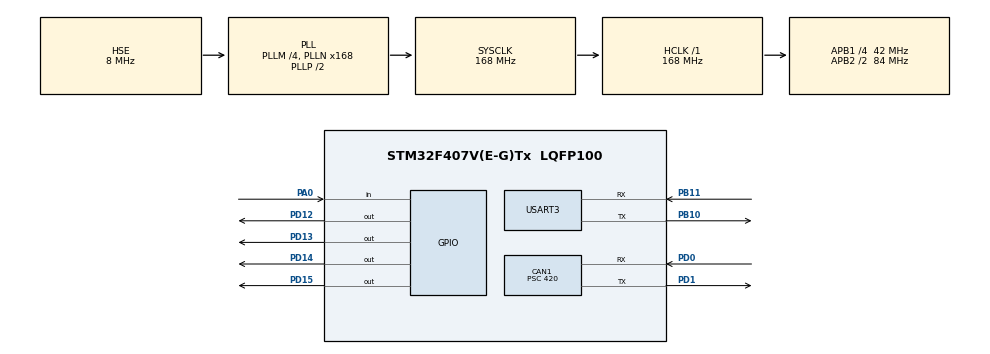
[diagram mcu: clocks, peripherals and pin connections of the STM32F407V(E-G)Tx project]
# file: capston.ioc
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CAN1.BS1=CAN_BS1_14TQ
CAN1.BS2=CAN_BS2_5TQ
CAN1.CalculateBaudRate=5000
CAN1.CalculateTimeBit=200000
CAN1.CalculateTimeQuantum=10000.0
CAN1.NART=ENABLE
CAN1.Prescaler=420
Dma.Request0=USART3_RX
Dma.USART3_RX.0.Direction=DMA_PERIPH_TO_MEMORY
Dma.USART3_RX.0.FIFOMode=DMA_FIFOMODE_DISABLE
Dma.USART3_RX.0.Instance=DMA1_Stream1
Dma.USART3_RX.0.MemDataAlignment=DMA_MDATAALIGN_BYTE
Dma.USART3_RX.0.MemInc=DMA_MINC_ENABLE
Dma.USART3_RX.0.Mode=DMA_CIRCULAR
Dma.USART3_RX.0.PeriphDataAlignment=DMA_PDATAALIGN_BYTE
Dma.USART3_RX.0.PeriphInc=DMA_PINC_DISABLE
Dma.USART3_RX.0.Priority=DMA_PRIORITY_LOW
Mcu.Family=STM32F4
Mcu.Name=STM32F407V(E-G)Tx
Mcu.Package=LQFP100
NVIC.CAN1_RX0_IRQn=true\:0\:0\:false\:false\:true\:true\:true\:true
NVIC.PriorityGroup=NVIC_PRIORITYGROUP_4
PA0-WKUP.Signal=GPIO_Input
PB10.Mode=Asynchronous
PB10.Signal=USART3_TX
PB11.Mode=Asynchronous
PB11.Signal=USART3_RX
PD0.Mode=CAN_Activate
PD0.Signal=CAN1_RX
PD1.Mode=CAN_Activate
PD1.Signal=CAN1_TX
PD12.Signal=GPIO_Output
PD13.Signal=GPIO_Output
PD14.Signal=GPIO_Output
PD15.Signal=GPIO_Output
PH0-OSC_IN.Mode=HSE-External-Oscillator
PH0-OSC_IN.Signal=RCC_OSC_IN
PH1-OSC_OUT.Mode=HSE-External-Oscillator
PH1-OSC_OUT.Signal=RCC_OSC_OUT
ProjectManager.HeapSize=0x200
ProjectManager.StackSize=0x400
ProjectManager.TargetToolchain=CMake
RCC.48MHZClocksFreq_Value=84000000
RCC.AHBFreq_Value=168000000
RCC.APB1CLKDivider=RCC_HCLK_DIV4
RCC.APB1Freq_Value=42000000
RCC.APB1TimFreq_Value=84000000
RCC.APB2CLKDivider=RCC_HCLK_DIV2
RCC.APB2Freq_Value=84000000
RCC.APB2TimFreq_Value=168000000
RCC.CortexFreq_Value=168000000
RCC.HCLKFreq_Value=168000000
RCC.HSE_VALUE=8000000
RCC.HSI_VALUE=16000000
RCC.LSE_VALUE=32768
RCC.PLLM=4
RCC.PLLN=168
RCC.PLLSourceVirtual=RCC_PLLSOURCE_HSE
RCC.SYSCLKFreq_VALUE=168000000
RCC.SYSCLKSource=RCC_SYSCLKSOURCE_PLLCLK
RCC.VCOOutputFreq_Value=336000000
USART3.VirtualMode=VM_ASYNC
board=custom

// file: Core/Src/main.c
/* USER CODE BEGIN Header */
/**
  ******************************************************************************
  * @file           : main.c
  * @brief          : Main program body
  ******************************************************************************
  * @attention
  *
  * Copyright (c) 2026 STMicroelectronics.
  * All rights reserved.
  *
  * This software is licensed under terms that can be found in the LICENSE file
  * in the root directory of this software component.
  * If no LICENSE file comes with this software, it is provided AS-IS.
  *
  ******************************************************************************
  */
/* USER CODE END Header */
#include "main.h"

/* USER CODE BEGIN Includes */
#include "ap.h"
#include "hw_def.h"
/* USER CODE END Includes */

CAN_HandleTypeDef hcan1;

UART_HandleTypeDef huart3;
DMA_HandleTypeDef hdma_usart3_rx;

void SystemClock_Config(void);
static void MX_GPIO_Init(void);
static void MX_DMA_Init(void);
static void MX_USART3_UART_Init(void);
static void MX_CAN1_Init(void);

/* USER CODE BEGIN 0 */
CAN_FilterTypeDef canFilter1;
CAN_RxHeaderTypeDef canRxHeader;
CAN_TxHeaderTypeDef canTxHeader;
uint8_t can1Rx0Data[8];
uint32_t TxMailBox;
uint8_t can1Tx0Data[8];
/* USER CODE END 0 */

int main(void)
{

  /* USER CODE BEGIN 1 */

  volatile uint8_t can1_rx0_flag = 0 ;
  /* USER CODE END 1 */

  /* MCU Configuration--------------------------------------------------------*/

  /* Reset of all peripherals, Initializes the Flash interface and the Systick. */
  HAL_Init();

  /* Configure the system clock */
  SystemClock_Config();

  /* Initialize all configured peripherals */
  MX_GPIO_Init();
  MX_DMA_Init();
  MX_USART3_UART_Init();
  MX_CAN1_Init();
  /* USER CODE BEGIN 2 */
  canFilter1.FilterMaskIdHigh = 0x0000; // 마스크를 0으로 하면 ID 상관없이 다 받음
  canFilter1.FilterIdHigh = 0x0000;
  canFilter1.FilterMaskIdLow = 0x0000;
  canFilter1.FilterIdLow = 0x0000;
  canFilter1.FilterMode = CAN_FILTERMODE_IDMASK;
  canFilter1.FilterScale = CAN_FILTERSCALE_32BIT; // 32비트 스케일 추천
  canFilter1.FilterFIFOAssignment = CAN_FILTER_FIFO0;
  canFilter1.FilterBank = 0;
  canFilter1.FilterActivation = ENABLE;

  HAL_CAN_ConfigFilter(&hcan1, &canFilter1);
  HAL_CAN_ActivateNotification(&hcan1, CAN_IT_RX_FIFO0_MSG_PENDING);

  HAL_CAN_Start(&hcan1);

  // hwInit();
  // apInit();
  // apMain();

  /* USER CODE END 2 */

  /* Infinite loop */
  /* USER CODE BEGIN WHILE */
  uint32_t last_tx_tick = 0;
  while (1)
  {
    if(can1_rx0_flag)
    {
      can1_rx0_flag = 0;
      // 수신 데이터 처리 로직...
    }

    /* 송신 처리 부분 (수정됨) */
    // 현재 시간(HAL_GetTick)과 마지막 전송 시간의 차이가 1000ms(1초) 이상이면 실행
    if(HAL_GetTick() - last_tx_tick >= 1000)
    {
      last_tx_tick = HAL_GetTick(); // 시간 갱신

      // 1. 헤더 설정 (ID: 0x102)
      canTxHeader.StdId = 0x102;
      canTxHeader.RTR = CAN_RTR_DATA;
      canTxHeader.IDE = CAN_ID_STD;
      canTxHeader.DLC = 8;
      canTxHeader.TransmitGlobalTime = DISABLE;

      // 2. 데이터 변경 (값이 바뀌는 것을 확인하기 위함)
      for(int i=0; i<8; i++) can1Tx0Data[i]++;

      // 3. 메시지 전송
      // 메일박스 가용 레벨 확인 (선택 사항이나 안전을 위해 체크하면 좋음)
      if (HAL_CAN_GetTxMailboxesFreeLevel(&hcan1) > 0)
      {
          if (HAL_CAN_AddTxMessage(&hcan1, &canTxHeader, can1Tx0Data, &TxMailBox) == HAL_OK)
          {
              // 전송 성공 시: 초록색 LED (PD12) 토글
              HAL_GPIO_TogglePin(GPIOD, GPIO_PIN_12);
          }
          else
          {
              // 전송 실패 시(Mailbox 꽉 참 등): 주황색 LED (PD13) 켜기 (에러 표시)
              HAL_GPIO_WritePin(GPIOD, GPIO_PIN_13, GPIO_PIN_SET);
          }
      }
    }

    /* USER CODE END WHILE */

  }
}

void SystemClock_Config(void)
{
  RCC_OscInitTypeDef RCC_OscInitStruct = {0};
  RCC_ClkInitTypeDef RCC_ClkInitStruct = {0};

  /** Configure the main internal regulator output voltage
  */
  __HAL_RCC_PWR_CLK_ENABLE();
  __HAL_PWR_VOLTAGESCALING_CONFIG(PWR_REGULATOR_VOLTAGE_SCALE1);

  /** Initializes the RCC Oscillators according to the specified parameters
  * in the RCC_OscInitTypeDef structure.
  */
  RCC_OscInitStruct.OscillatorType = RCC_OSCILLATORTYPE_HSE;
  RCC_OscInitStruct.HSEState = RCC_HSE_ON;
  RCC_OscInitStruct.PLL.PLLState = RCC_PLL_ON;
  RCC_OscInitStruct.PLL.PLLSource = RCC_PLLSOURCE_HSE;
  RCC_OscInitStruct.PLL.PLLM = 4;
  RCC_OscInitStruct.PLL.PLLN = 168;
  RCC_OscInitStruct.PLL.PLLP = RCC_PLLP_DIV2;
  RCC_OscInitStruct.PLL.PLLQ = 4;
  if (HAL_RCC_OscConfig(&RCC_OscInitStruct) != HAL_OK)
  {
    Error_Handler();
  }

  /** Initializes the CPU, AHB and APB buses clocks
  */
  RCC_ClkInitStruct.ClockType = RCC_CLOCKTYPE_HCLK|RCC_CLOCKTYPE_SYSCLK
                              |RCC_CLOCKTYPE_PCLK1|RCC_CLOCKTYPE_PCLK2;
  RCC_ClkInitStruct.SYSCLKSource = RCC_SYSCLKSOURCE_PLLCLK;
  RCC_ClkInitStruct.AHBCLKDivider = RCC_SYSCLK_DIV1;
  RCC_ClkInitStruct.APB1CLKDivider = RCC_HCLK_DIV4;
  RCC_ClkInitStruct.APB2CLKDivider = RCC_HCLK_DIV2;

  if (HAL_RCC_ClockConfig(&RCC_ClkInitStruct, FLASH_LATENCY_5) != HAL_OK)
  {
    Error_Handler();
  }
}

static void MX_CAN1_Init(void)
{

  hcan1.Instance = CAN1;
  hcan1.Init.Prescaler = 420;
  hcan1.Init.Mode = CAN_MODE_NORMAL;
  hcan1.Init.SyncJumpWidth = CAN_SJW_1TQ;
  hcan1.Init.TimeSeg1 = CAN_BS1_14TQ;
  hcan1.Init.TimeSeg2 = CAN_BS2_5TQ;
  hcan1.Init.TimeTriggeredMode = DISABLE;
  hcan1.Init.AutoBusOff = DISABLE;
  hcan1.Init.AutoWakeUp = DISABLE;
  hcan1.Init.AutoRetransmission = ENABLE;
  hcan1.Init.ReceiveFifoLocked = DISABLE;
  hcan1.Init.TransmitFifoPriority = DISABLE;
  if (HAL_CAN_Init(&hcan1) != HAL_OK)
  {
    Error_Handler();
  }

}

static void MX_USART3_UART_Init(void)
{

  huart3.Instance = USART3;
  huart3.Init.BaudRate = 115200;
  huart3.Init.WordLength = UART_WORDLENGTH_8B;
  huart3.Init.StopBits = UART_STOPBITS_1;
  huart3.Init.Parity = UART_PARITY_NONE;
  huart3.Init.Mode = UART_MODE_TX_RX;
  huart3.Init.HwFlowCtl = UART_HWCONTROL_NONE;
  huart3.Init.OverSampling = UART_OVERSAMPLING_16;
  if (HAL_UART_Init(&huart3) != HAL_OK)
  {
    Error_Handler();
  }

}

static void MX_DMA_Init(void)
{

  /* DMA controller clock enable */
  __HAL_RCC_DMA1_CLK_ENABLE();

}

static void MX_GPIO_Init(void)
{
  GPIO_InitTypeDef GPIO_InitStruct = {0};

  /* GPIO Ports Clock Enable */
  __HAL_RCC_GPIOH_CLK_ENABLE();
  __HAL_RCC_GPIOA_CLK_ENABLE();
  __HAL_RCC_GPIOB_CLK_ENABLE();
  __HAL_RCC_GPIOD_CLK_ENABLE();

  /*Configure GPIO pin Output Level */
  HAL_GPIO_WritePin(GPIOD, GPIO_PIN_12|GPIO_PIN_13|GPIO_PIN_14|GPIO_PIN_15, GPIO_PIN_RESET);

  /*Configure GPIO pin : PA0 */
  GPIO_InitStruct.Pin = GPIO_PIN_0;
  GPIO_InitStruct.Mode = GPIO_MODE_INPUT;
  GPIO_InitStruct.Pull = GPIO_NOPULL;
  HAL_GPIO_Init(GPIOA, &GPIO_InitStruct);

  /*Configure GPIO pins : PD12 PD13 PD14 PD15 */
  GPIO_InitStruct.Pin = GPIO_PIN_12|GPIO_PIN_13|GPIO_PIN_14|GPIO_PIN_15;
  GPIO_InitStruct.Mode = GPIO_MODE_OUTPUT_PP;
  GPIO_InitStruct.Pull = GPIO_NOPULL;
  GPIO_InitStruct.Speed = GPIO_SPEED_FREQ_LOW;
  HAL_GPIO_Init(GPIOD, &GPIO_InitStruct);

}

/* USER CODE BEGIN 4 */
void HAL_CAN_RxFifo0MsgPendingCallback(CAN_HandleTypeDef *hcan)
{
  CAN_RxHeaderTypeDef rxHeader;
  uint8_t rxData[8];

  if (HAL_CAN_GetRxMessage(hcan, CAN_RX_FIFO0, &rxHeader, rxData) == HAL_OK)
  {
    if (rxHeader.StdId == 0x100)
    {
      uint8_t cmd = rxData[0]; // 첫 번째 바이트는 명령어

      switch(cmd)
      {
        case 0x10: // FW_START
          // 파란색 LED 켜기 (전송 시작 알림)
          HAL_GPIO_WritePin(GPIOD, GPIO_PIN_15, GPIO_PIN_SET);
          // 여기서 나중에 Flash Erase를 수행함
          break;

        case 0x20: // FW_DATA
          // 주황색 LED 토글 (데이터 받는 중)
          HAL_GPIO_TogglePin(GPIOD, GPIO_PIN_13);
          // rxData[1] ~ rxData[7]까지 버퍼에 저장하는 코드 필요
          break;

        case 0x30: // FW_END
          // 파란색 LED 끄기 (전송 끝)
          HAL_GPIO_WritePin(GPIOD, GPIO_PIN_15, GPIO_PIN_RESET);
          // 여기서 나중에 부트로더 점프 수행
          break;
      }
    }
  }
}
/* USER CODE END 4 */

void Error_Handler(void)
{
  __disable_irq();
  while (1)
  {
  }
}
